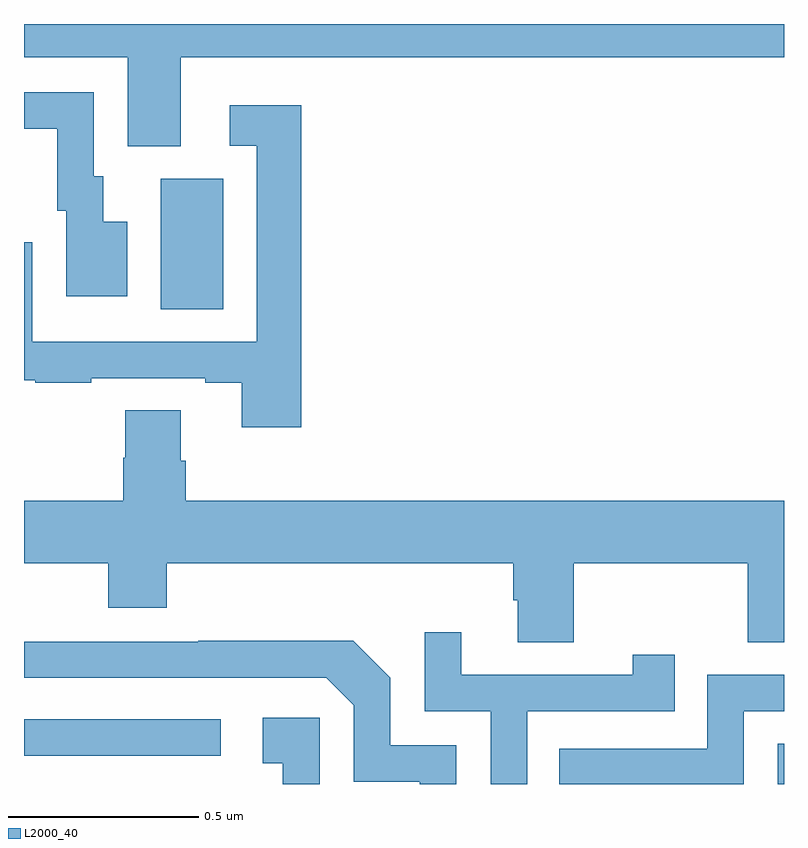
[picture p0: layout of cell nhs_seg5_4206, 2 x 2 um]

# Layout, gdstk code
import gdstk
lib = gdstk.Library(unit=1e-6, precision=1e-09)
def R(c, l, rs):  # rectangles x0, y0, x1, y1
    for r in rs: c.add(gdstk.rectangle(r[:2], r[2:], *l))
def P(c, l, *ps):  # polygons
    for p in ps: c.add(gdstk.Polygon(p, *l))
L2000_40 = (2000, 40)

nhs_seg5_4206 = lib.new_cell('nhs_seg5_4206')
R(nhs_seg5_4206, L2000_40, [(168.984,902.799,169,902.905), (167,902.874,167.518,902.97), (167.36,904.048,167.524,904.392)])
P(nhs_seg5_4206, L2000_40, [(167.413,904.712),(169,904.712),(169,904.799),(167,904.799),(167,904.712),(167.273,904.712),(167.273,904.477),(167.413,904.477)],
  [(167.272,904.279),(167.209,904.279),(167.209,904.398),(167.184,904.398),(167.184,904.62),(167,904.62),(167,904.524),(167.087,904.524),(167.087,904.308),(167.111,904.308),(167.111,904.083),(167.272,904.083)],
  [(167.729,904.585),(167.541,904.585),(167.541,904.479),(167.613,904.479),(167.613,903.963),(167.022,903.963),(167.022,904.225),(167,904.225),(167,903.861),(167.029,903.861),(167.029,903.855),(167.177,903.855),(167.177,903.867),(167.477,903.867),(167.477,903.855),(167.573,903.855),(167.573,903.738),(167.729,903.738)],
  [(168.447,903.38),(168.904,903.38),(168.904,903.172),(169,903.172),(169,903.544),(167.426,903.544),(167.426,903.65),(167.413,903.65),(167.413,903.782),(167.266,903.782),(167.266,903.657),(167.261,903.657),(167.261,903.544),(167,903.544),(167,903.38),(167.222,903.38),(167.222,903.263),(167.375,903.263),(167.375,903.38),(168.287,903.38),(168.287,903.282),(168.299,903.282),(168.299,903.172),(168.447,903.172)],
  [(168.324,902.991),(168.713,902.991),(168.713,903.139),(168.602,903.139),(168.602,903.087),(168.151,903.087),(168.151,903.199),(168.054,903.199),(168.054,902.991),(168.228,902.991),(168.228,902.799),(168.324,902.799)],
  [(168.138,902.901),(167.964,902.901),(167.964,903.078),(167.866,903.176),(167.458,903.176),(167.458,903.174),(167,903.174),(167,903.078),(167.796,903.078),(167.868,903.006),(167.868,902.805),(168.041,902.805),(168.041,902.799),(168.138,902.799)],
  [(168.894,902.991),(169,902.991),(169,903.087),(168.798,903.087),(168.798,902.892),(168.409,902.892),(168.409,902.799),(168.894,902.799)],
  [(167.778,902.974),(167.628,902.974),(167.628,902.853),(167.681,902.853),(167.681,902.799),(167.778,902.799)])

lib.write_gds('nhs_seg5_4206.gds')
